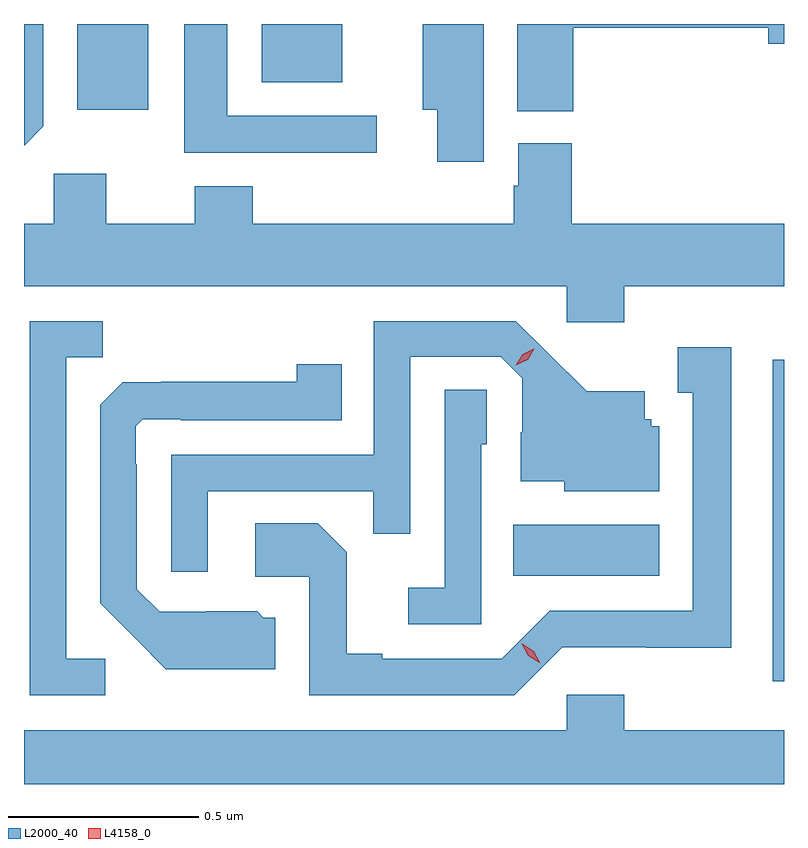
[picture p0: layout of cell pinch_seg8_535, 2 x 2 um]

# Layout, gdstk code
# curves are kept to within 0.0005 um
import gdstk
lib = gdstk.Library(unit=1e-6, precision=1e-09)
def R(c, l, rs):  # rectangles x0, y0, x1, y1
    for r in rs: c.add(gdstk.rectangle(r[:2], r[2:], *l))
def P(c, l, *ps):  # polygons
    for p in ps: c.add(gdstk.Polygon(p, *l))
L2000_40 = (2000, 40)
L4158_0 = (4158, 0)

pinch_seg8_535 = lib.new_cell('pinch_seg8_535')
R(pinch_seg8_535, L2000_40, [(126.951,1118.124,126.98,1118.971), (126.268,1118.402,126.652,1118.536), (125.12,1119.629,125.307,1119.854), (125.606,1119.701,125.818,1119.854)])
P(pinch_seg8_535, L2000_40, [(126.425,1119.844),(126.938,1119.844),(126.938,1119.802),(126.98,1119.802),(126.98,1119.854),(126.278,1119.854),(126.278,1119.625),(126.425,1119.625)],
  [(125.908,1119.612),(125.515,1119.612),(125.515,1119.854),(125.402,1119.854),(125.402,1119.515),(125.908,1119.515)],
  [(126.19,1119.854),(126.029,1119.854),(126.029,1119.629),(126.068,1119.629),(126.068,1119.492),(126.19,1119.492)],
  [(125.031,1119.585),(125.031,1119.854),(124.98,1119.854),(124.98,1119.534)],
  [(126.56,1119.164),(126.98,1119.164),(126.98,1119.328),(126.422,1119.328),(126.422,1119.54),(126.281,1119.54),(126.281,1119.429),(126.269,1119.429),(126.269,1119.328),(125.582,1119.328),(125.582,1119.427),(125.429,1119.427),(125.429,1119.328),(125.197,1119.328),(125.197,1119.46),(125.058,1119.46),(125.058,1119.328),(124.98,1119.328),(124.98,1119.164),(126.408,1119.164),(126.408,1119.069),(126.56,1119.069)],
  [(125.463,1118.625),(125.899,1118.625),(125.899,1118.512),(125.997,1118.512),(125.997,1118.979),(126.234,1118.979),(126.291,1118.922),(126.291,1118.78),(126.287,1118.78),(126.287,1118.651),(126.402,1118.651),(126.402,1118.624),(126.652,1118.624),(126.652,1118.796),(126.63,1118.796),(126.63,1118.814),(126.613,1118.814),(126.613,1118.887),(126.461,1118.887),(126.274,1119.072),(125.901,1119.072),(125.901,1118.721),(125.367,1118.721),(125.367,1118.412),(125.463,1118.412)],
  [(125.194,1118.184),(125.091,1118.184),(125.091,1118.977),(125.187,1118.977),(125.187,1119.072),(124.995,1119.072),(124.995,1118.088),(125.194,1118.088)],
  [(126.396,1118.214),(126.618,1118.214),(126.618,1118.213),(126.841,1118.213),(126.841,1119.004),(126.701,1119.004),(126.701,1118.883),(126.74,1118.883),(126.74,1118.31),(126.363,1118.31),(126.237,1118.184),(125.923,1118.184),(125.923,1118.197),(125.829,1118.197),(125.829,1118.464),(125.753,1118.54),(125.589,1118.54),(125.589,1118.4),(125.73,1118.4),(125.73,1118.088),(126.27,1118.088)],
  [(125.641,1118.292),(125.61,1118.292),(125.594,1118.308),(125.46,1118.308),(125.46,1118.307),(125.337,1118.307),(125.277,1118.367),(125.277,1118.696),(125.274,1118.696),(125.274,1118.796),(125.292,1118.814),(125.392,1118.814),(125.392,1118.811),(125.816,1118.811),(125.816,1118.959),(125.698,1118.959),(125.698,1118.912),(125.341,1118.912),(125.341,1118.911),(125.24,1118.911),(125.181,1118.852),(125.181,1118.33),(125.353,1118.156),(125.641,1118.156)],
  [(126.183,1118.748),(126.198,1118.748),(126.198,1118.891),(126.087,1118.891),(126.087,1118.371),(125.991,1118.371),(125.991,1118.274),(126.183,1118.274)],
  [(126.98,1117.996),(126.56,1117.996),(126.56,1118.089),(126.408,1118.089),(126.408,1117.996),(124.98,1117.996),(124.98,1117.854),(126.98,1117.854)])
P(pinch_seg8_535, L4158_0, [(126.339,1118.172),(126.307,1118.191),(126.29,1118.223),(126.29,1118.224),(126.29,1118.224),(126.322,1118.204),(126.339,1118.172),(126.339,1118.172)],
  [(126.274,1118.956),(126.274,1118.956),(126.292,1118.985),(126.322,1119),(126.323,1119),(126.323,1119),(126.305,1118.97),(126.274,1118.956)])

lib.write_gds('pinch_seg8_535.gds')
